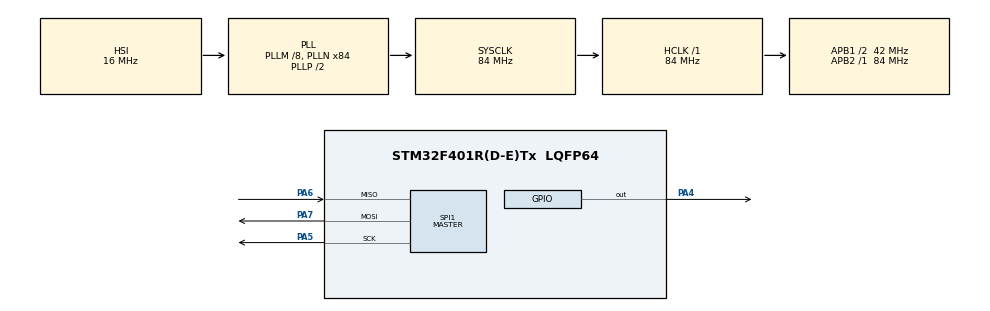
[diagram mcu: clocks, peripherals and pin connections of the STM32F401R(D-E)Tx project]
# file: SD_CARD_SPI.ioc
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FATFS._MAX_SS=4096
FATFS._USE_LFN=1
Mcu.Family=STM32F4
Mcu.Name=STM32F401R(D-E)Tx
Mcu.Package=LQFP64
NVIC.PriorityGroup=NVIC_PRIORITYGROUP_4
PA4.Signal=GPIO_Output
PA5.Mode=Full_Duplex_Master
PA5.Signal=SPI1_SCK
PA6.Mode=Full_Duplex_Master
PA6.Signal=SPI1_MISO
PA7.Mode=Full_Duplex_Master
PA7.Signal=SPI1_MOSI
PH0\ -\ OSC_IN.Mode=HSE-External-Oscillator
PH0\ -\ OSC_IN.Signal=RCC_OSC_IN
PH1\ -\ OSC_OUT.Mode=HSE-External-Oscillator
PH1\ -\ OSC_OUT.Signal=RCC_OSC_OUT
ProjectManager.HeapSize=0x200
ProjectManager.StackSize=0x400
ProjectManager.TargetToolchain=STM32CubeIDE
RCC.48MHZClocksFreq_Value=42000000
RCC.AHBFreq_Value=84000000
RCC.APB1CLKDivider=RCC_HCLK_DIV2
RCC.APB1Freq_Value=42000000
RCC.APB1TimFreq_Value=84000000
RCC.APB2Freq_Value=84000000
RCC.APB2TimFreq_Value=84000000
RCC.CortexFreq_Value=84000000
RCC.HCLKFreq_Value=84000000
RCC.HSE_VALUE=8000000
RCC.HSI_VALUE=16000000
RCC.LSE_VALUE=32768
RCC.PLLM=8
RCC.PLLN=84
RCC.SYSCLKFreq_VALUE=84000000
RCC.SYSCLKSource=RCC_SYSCLKSOURCE_PLLCLK
RCC.VCOOutputFreq_Value=168000000
SPI1.BaudRatePrescaler=SPI_BAUDRATEPRESCALER_16
SPI1.Direction=SPI_DIRECTION_2LINES
SPI1.Mode=SPI_MODE_MASTER
SPI1.VirtualType=VM_MASTER
VP_FATFS_VS_Generic.Mode=User_defined
board=custom

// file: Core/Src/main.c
/* USER CODE BEGIN Header */
/**
  ******************************************************************************
  * @file           : main.c
  * @brief          : Main program body
  ******************************************************************************
  * @attention
  *
  * Copyright (c) 2023 STMicroelectronics.
  * All rights reserved.
  *
  * This software is licensed under terms that can be found in the LICENSE file
  * in the root directory of this software component.
  * If no LICENSE file comes with this software, it is provided AS-IS.
  *
  ******************************************************************************
  */
/* USER CODE END Header */
#include "main.h"
#include "fatfs.h"

/* USER CODE BEGIN Includes */
#include "fatfs_sd.h"
#include "string.h"

/* USER CODE END Includes */

SPI_HandleTypeDef hspi1;

/* USER CODE BEGIN PV */
UINT br,bw;

FATFS fs; //dosya sistemi
FIL file;  // dosya
FRESULT  fresult;//
char buffer[1024];

FATFS *pfs;
DWORD fre_clust;
uint32_t total,free_space;
/* USER CODE END PV */

void SystemClock_Config(void);
static void MX_GPIO_Init(void);
static void MX_SPI1_Init(void);

int main(void)
{

  /* MCU Configuration--------------------------------------------------------*/

  /* Reset of all peripherals, Initializes the Flash interface and the Systick. */
  HAL_Init();

  /* Configure the system clock */
  SystemClock_Config();

  /* Initialize all configured peripherals */
  MX_GPIO_Init();
  MX_SPI1_Init();
  MX_FATFS_Init();
  /* USER CODE BEGIN 2 */

  fresult = f_mount(&fs,"",0);
  f_getfree("",&fre_clust,&pfs);

  total = (uint32_t)((pfs->n_fatent-2) * (pfs->fsize * 0.5));
  free_space = (uint32_t)(fre_clust * pfs->fsize * 0.5);
  fresult = f_open(&file,"myFile.txt",FA_CREATE_ALWAYS | FA_WRITE | FA_READ);

  f_puts("merhba bu bir denemedir", &file );

  fresult =f_close(&file);
  /* USER CODE END 2 */

  /* Infinite loop */
  while (1)
  {

  }
}

void SystemClock_Config(void)
{
  RCC_OscInitTypeDef RCC_OscInitStruct = {0};
  RCC_ClkInitTypeDef RCC_ClkInitStruct = {0};

  /** Configure the main internal regulator output voltage
  */
  __HAL_RCC_PWR_CLK_ENABLE();
  __HAL_PWR_VOLTAGESCALING_CONFIG(PWR_REGULATOR_VOLTAGE_SCALE2);

  /** Initializes the RCC Oscillators according to the specified parameters
  * in the RCC_OscInitTypeDef structure.
  */
  RCC_OscInitStruct.OscillatorType = RCC_OSCILLATORTYPE_HSI;
  RCC_OscInitStruct.HSIState = RCC_HSI_ON;
  RCC_OscInitStruct.HSICalibrationValue = RCC_HSICALIBRATION_DEFAULT;
  RCC_OscInitStruct.PLL.PLLState = RCC_PLL_ON;
  RCC_OscInitStruct.PLL.PLLSource = RCC_PLLSOURCE_HSI;
  RCC_OscInitStruct.PLL.PLLM = 8;
  RCC_OscInitStruct.PLL.PLLN = 84;
  RCC_OscInitStruct.PLL.PLLP = RCC_PLLP_DIV2;
  RCC_OscInitStruct.PLL.PLLQ = 4;
  if (HAL_RCC_OscConfig(&RCC_OscInitStruct) != HAL_OK)
  {
    Error_Handler();
  }

  /** Initializes the CPU, AHB and APB buses clocks
  */
  RCC_ClkInitStruct.ClockType = RCC_CLOCKTYPE_HCLK|RCC_CLOCKTYPE_SYSCLK
                              |RCC_CLOCKTYPE_PCLK1|RCC_CLOCKTYPE_PCLK2;
  RCC_ClkInitStruct.SYSCLKSource = RCC_SYSCLKSOURCE_PLLCLK;
  RCC_ClkInitStruct.AHBCLKDivider = RCC_SYSCLK_DIV1;
  RCC_ClkInitStruct.APB1CLKDivider = RCC_HCLK_DIV2;
  RCC_ClkInitStruct.APB2CLKDivider = RCC_HCLK_DIV1;

  if (HAL_RCC_ClockConfig(&RCC_ClkInitStruct, FLASH_LATENCY_2) != HAL_OK)
  {
    Error_Handler();
  }
}

static void MX_SPI1_Init(void)
{

  /* SPI1 parameter configuration*/
  hspi1.Instance = SPI1;
  hspi1.Init.Mode = SPI_MODE_MASTER;
  hspi1.Init.Direction = SPI_DIRECTION_2LINES;
  hspi1.Init.DataSize = SPI_DATASIZE_8BIT;
  hspi1.Init.CLKPolarity = SPI_POLARITY_LOW;
  hspi1.Init.CLKPhase = SPI_PHASE_1EDGE;
  hspi1.Init.NSS = SPI_NSS_SOFT;
  hspi1.Init.BaudRatePrescaler = SPI_BAUDRATEPRESCALER_16;
  hspi1.Init.FirstBit = SPI_FIRSTBIT_MSB;
  hspi1.Init.TIMode = SPI_TIMODE_DISABLE;
  hspi1.Init.CRCCalculation = SPI_CRCCALCULATION_DISABLE;
  hspi1.Init.CRCPolynomial = 10;
  if (HAL_SPI_Init(&hspi1) != HAL_OK)
  {
    Error_Handler();
  }

}

static void MX_GPIO_Init(void)
{
  GPIO_InitTypeDef GPIO_InitStruct = {0};

  /* GPIO Ports Clock Enable */
  __HAL_RCC_GPIOH_CLK_ENABLE();
  __HAL_RCC_GPIOA_CLK_ENABLE();

  /*Configure GPIO pin Output Level */
  HAL_GPIO_WritePin(GPIOA, GPIO_PIN_4, GPIO_PIN_RESET);

  /*Configure GPIO pin : PA4 */
  GPIO_InitStruct.Pin = GPIO_PIN_4;
  GPIO_InitStruct.Mode = GPIO_MODE_OUTPUT_PP;
  GPIO_InitStruct.Pull = GPIO_NOPULL;
  GPIO_InitStruct.Speed = GPIO_SPEED_FREQ_LOW;
  HAL_GPIO_Init(GPIOA, &GPIO_InitStruct);

}

void Error_Handler(void)
{
  __disable_irq();
  while (1)
  {
  }
}
